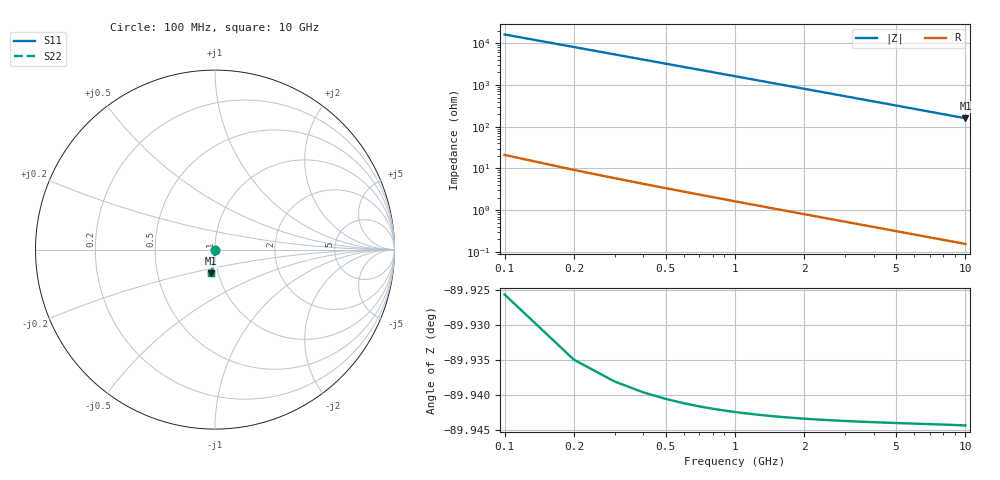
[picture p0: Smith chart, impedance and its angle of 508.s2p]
# Hz S RI R 50.00
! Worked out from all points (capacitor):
!   100 points, 100 MHz to 10 GHz, reference 50 ohm
!   read as one part in shunt: C = 98.2 fF near 100 MHz
!   lowest |Z| = 159 ohm at 10 GHz (marker M1)
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1e8  4.98e-05 -0.00133  0.9999 -0.00176  0.9999 -0.00176  4.98e-05 -0.00133
2e8  4.16e-05 -0.00266  0.9999 -0.00351  0.9999 -0.00351  4.16e-05 -0.00266
3e8  2.87e-05 -0.00399  0.9999 -0.00527  0.9999 -0.00527  2.87e-05 -0.00399
4e8  1.11e-05 -0.00532  0.9999 -0.00703  0.9999 -0.00703  1.11e-05 -0.00532
5e8  -1.13e-05 -0.00665  0.9999 -0.00879  0.9999 -0.00879  -1.13e-05 -0.00665
6e8  -3.83e-05 -0.00798  0.9998 -0.0105  0.9998 -0.0105  -3.83e-05 -0.00798
7e8  -7.01e-05 -0.00931  0.9998 -0.0123  0.9998 -0.0123  -7.01e-05 -0.00931
8e8  -0.000106 -0.0106  0.9998 -0.0141  0.9998 -0.0141  -0.000106 -0.0106
9e8  -0.000148 -0.012  0.9997 -0.0158  0.9997 -0.0158  -0.000148 -0.012
1.1e9  -0.000244 -0.0146  0.9996 -0.0193  0.9996 -0.0193  -0.000244 -0.0146
1.4e9  -0.000424 -0.0186  0.9994 -0.0246  0.9994 -0.0246  -0.000424 -0.0186
1.8e9  -0.00073 -0.024  0.9991 -0.0317  0.9991 -0.0317  -0.00073 -0.024
2.1e9  -0.00101 -0.028  0.9988 -0.037  0.9988 -0.037  -0.00101 -0.028
2.5e9  -0.00145 -0.0333  0.9984 -0.044  0.9984 -0.044  -0.00145 -0.0333
2.9e9  -0.00196 -0.0386  0.9978 -0.0511  0.9978 -0.0511  -0.00196 -0.0386
3.4e9  -0.00271 -0.0453  0.9971 -0.0599  0.9971 -0.0599  -0.00271 -0.0453
4.2e9  -0.00417 -0.0559  0.9956 -0.074  0.9956 -0.074  -0.00417 -0.0559
5.1e9  -0.00616 -0.0679  0.9935 -0.0899  0.9935 -0.0899  -0.00616 -0.0679
5.9e9  -0.00827 -0.0785  0.9913 -0.104  0.9913 -0.104  -0.00827 -0.0785
6.7e9  -0.0107 -0.089  0.9888 -0.1181  0.9888 -0.1181  -0.0107 -0.089
8.4e9  -0.0168 -0.1112  0.9824 -0.1478  0.9824 -0.1478  -0.0168 -0.1112
1e10  -0.0238 -0.1316  0.9752 -0.1754  0.9752 -0.1754  -0.0238 -0.1316
